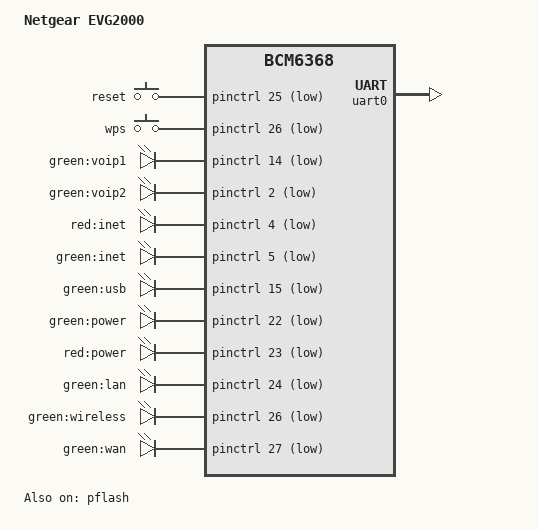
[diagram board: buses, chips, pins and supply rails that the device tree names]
#include "bcm6368.dtsi"

#include <dt-bindings/input/input.h>

/ {
	model = "Netgear EVG2000";
	compatible = "netgear,evg2000", "brcm,bcm6369", "brcm,bcm6368";

	aliases {
		led-boot = &led_power_green;
		led-failsafe = &led_power_green;
		led-running = &led_power_green;
		led-upgrade = &led_power_green;
	};

	chosen {
		bootargs = "rootfstype=squashfs,jffs2 noinitrd console=ttyS0,115200";
		stdout-path = "serial0:115200n8";
	};

	keys {
		compatible = "gpio-keys-polled";
		#address-cells = <1>;
		#size-cells = <0>;
		poll-interval = <20>;

		reset {
			label = "reset";
			gpios = <&pinctrl 25 1>;
			linux,code = <KEY_RESTART>;
			debounce-interval = <60>;
		};

		wps {
			label = "wps";
			gpios = <&pinctrl 26 1>;
			linux,code = <KEY_WPS_BUTTON>;
			debounce-interval = <60>;
		};
	};

	leds {
		compatible = "gpio-leds";

		voip1_green {
			label = "green:voip1";
			gpios = <&pinctrl 14 1>;
		};
		voip2_green {
			label = "green:voip2";
			gpios = <&pinctrl 2 1>;
		};
		inet_red {
			label = "red:inet";
			gpios = <&pinctrl 4 1>;
		};
		inet_green {
			label = "green:inet";
			gpios = <&pinctrl 5 1>;
		};
		usb_green {
			label = "green:usb";
			gpios = <&pinctrl 15 1>;
		};
		led_power_green: power_green {
			label = "green:power";
			gpios = <&pinctrl 22 1>;
			default-state = "on";
		};
		power_red {
			label = "red:power";
			gpios = <&pinctrl 23 1>;
		};
		lan_green {
			label = "green:lan";
			gpios = <&pinctrl 24 1>;
		};
		wireless_green {
			label = "green:wireless";
			gpios = <&pinctrl 26 1>;
		};
		wan_green {
			label = "green:wan";
			gpios = <&pinctrl 27 1>;
		};
	};
};

&pflash {
	status = "okay";

	partitions {
		compatible = "fixed-partitions";
		#address-cells = <1>;
		#size-cells = <1>;

		cfe@0 {
			label = "CFE";
			reg = <0x00000000 0x00020000>;
			read-only;
		};

		linux@20000 {
			label = "linux";
			reg = <0x00020000 0x00f40000>;
			compatible = "brcm,bcm963xx-imagetag";
		};

		board_data@f60000 {
			label = "board_data";
			reg = <0x00f60000 0x00080000>;
			read-only;
		};

		nvram@fe0000 {
			label = "nvram";
			reg = <0x00fe0000 0x00020000>;
		};
	};
};

&pinctrl {
	pinctrl-names = "default";
	pinctrl-0 = <&pinctrl_pci>;
};

&uart0 {
	status = "okay";
};
